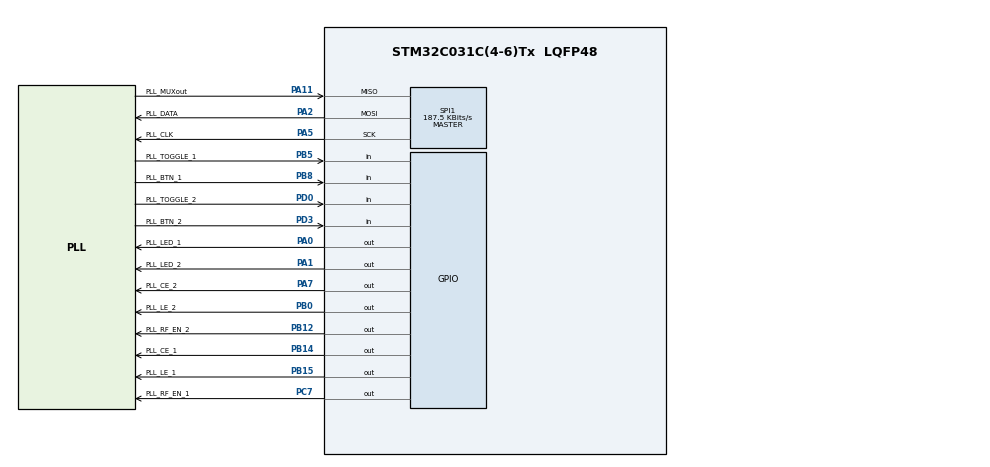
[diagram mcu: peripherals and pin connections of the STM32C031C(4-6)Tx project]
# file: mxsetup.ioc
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Mcu.Family=STM32C0
Mcu.Name=STM32C031C(4-6)Tx
Mcu.Package=LQFP48
PA0.GPIO_Label=PLL_LED_1
PA0.Signal=GPIO_Output
PA1.GPIO_Label=PLL_LED_2
PA1.Signal=GPIO_Output
PA11\ [PA9].GPIO_Label=PLL_MUXout
PA11\ [PA9].GPIO_Speed=GPIO_SPEED_FREQ_VERY_HIGH
PA11\ [PA9].Mode=Full_Duplex_Master
PA11\ [PA9].Signal=SPI1_MISO
PA13.Mode=Serial_Wire
PA13.Signal=DEBUG_SWDIO
PA14-BOOT0.Mode=Serial_Wire
PA14-BOOT0.Signal=DEBUG_SWCLK
PA2.GPIO_Label=PLL_DATA
PA2.GPIO_Speed=GPIO_SPEED_FREQ_VERY_HIGH
PA2.Mode=Full_Duplex_Master
PA2.Signal=SPI1_MOSI
PA5.GPIO_Label=PLL_CLK
PA5.GPIO_Speed=GPIO_SPEED_FREQ_VERY_HIGH
PA5.Mode=Full_Duplex_Master
PA5.Signal=SPI1_SCK
PA7.GPIO_Label=PLL_CE_2
PA7.Signal=GPIO_Output
PB0.GPIO_Label=PLL_LE_2
PB0.GPIO_ModeDefaultOutputPP=GPIO_MODE_OUTPUT_PP
PB0.GPIO_PuPd=GPIO_NOPULL
PB0.PinState=GPIO_PIN_RESET
PB0.Signal=GPIO_Output
PB12.GPIO_Label=PLL_RF_EN_2
PB12.Signal=GPIO_Output
PB14.GPIO_Label=PLL_CE_1
PB14.Signal=GPIO_Output
PB15.GPIO_Label=PLL_LE_1
PB15.GPIO_ModeDefaultOutputPP=GPIO_MODE_OUTPUT_PP
PB15.GPIO_PuPd=GPIO_NOPULL
PB15.PinState=GPIO_PIN_RESET
PB15.Signal=GPIO_Output
PB5.GPIO_Label=PLL_TOGGLE_1
PB5.Signal=GPIO_Input
PB8.GPIO_Label=PLL_BTN_1
PB8.GPIO_PuPd=GPIO_NOPULL
PB8.Signal=GPIO_Input
PC7.GPIO_Label=PLL_RF_EN_1
PC7.Signal=GPIO_Output
PD0.GPIO_Label=PLL_TOGGLE_2
PD0.GPIO_PuPd=GPIO_NOPULL
PD0.Signal=GPIO_Input
PD3.GPIO_Label=PLL_BTN_2
PD3.GPIO_PuPd=GPIO_NOPULL
PD3.Signal=GPIO_Input
ProjectManager.HeapSize=0x200
ProjectManager.StackSize=0x400
ProjectManager.TargetToolchain=STM32CubeIDE
RCC.ADCFreq_Value=48000000
RCC.AHBFreq_Value=48000000
RCC.CortexFreq_Value=48000000
RCC.EXTERNAL_CLOCK_VALUE=12288000
RCC.HCLKFreq_Value=48000000
RCC.HSE_VALUE=8000000
RCC.HSISYSCLKDivider=RCC_HSI_DIV1
RCC.HSI_VALUE=48000000
RCC.LSE_VALUE=32768
RCC.RCC_MCO2Div=RCC_MCO2DIV_16
RCC.RCC_MCODiv=RCC_MCODIV_16
RCC.SYSCLKFreq_VALUE=48000000
SPI1.BaudRatePrescaler=SPI_BAUDRATEPRESCALER_256
SPI1.CLKPhase=SPI_PHASE_1EDGE
SPI1.CalculateBaudRate=187.5 KBits/s
SPI1.DataSize=SPI_DATASIZE_8BIT
SPI1.Direction=SPI_DIRECTION_2LINES
SPI1.Mode=SPI_MODE_MASTER
SPI1.VirtualType=VM_MASTER
board=custom

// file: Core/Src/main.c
/* USER CODE BEGIN Header */
/**
  ******************************************************************************
  * @file           : main.c
  * @brief          : Main program body
  ******************************************************************************
  * @attention
  *
  * Copyright (c) 2026 STMicroelectronics.
  * All rights reserved.
  *
  * This software is licensed under terms that can be found in the LICENSE file
  * in the root directory of this software component.
  * If no LICENSE file comes with this software, it is provided AS-IS.
  *
  ******************************************************************************
  */
/* USER CODE END Header */
#include "main.h"

/* USER CODE BEGIN Includes */
#include "LMX2581.h"
/* USER CODE END Includes */

void SystemClock_Config(void);
static void MX_GPIO_Init(void);
static void MX_SPI1_Init(void);

int main(void)
{

  /* MCU Configuration--------------------------------------------------------*/

  /* Reset of all peripherals, Initializes the Flash interface and the Systick. */
  LL_APB2_GRP1_EnableClock(LL_APB2_GRP1_PERIPH_SYSCFG);
  LL_APB1_GRP1_EnableClock(LL_APB1_GRP1_PERIPH_PWR);

  /* SysTick_IRQn interrupt configuration */
  NVIC_SetPriority(SysTick_IRQn, 3);

  /* Configure the system clock */
  SystemClock_Config();

  /* Initialize all configured peripherals */
  MX_GPIO_Init();
  MX_SPI1_Init();
  /* USER CODE BEGIN 2 */
  //SystemCoreClockUpdate();
  //LL_Init1msTick(SystemCoreClock);

  // LED TEST
  //while ((PLL_BTN_1_GPIO_Port->IDR & PLL_BTN_1_Pin)) {}

  //while ((PLL_BTN_2_GPIO_Port->IDR & PLL_BTN_2_Pin)) {}

  //while ((PLL_TOGGLE_1_GPIO_Port->IDR & PLL_TOGGLE_1_Pin)) {}
  //while ((PLL_TOGGLE_2_GPIO_Port->IDR & PLL_TOGGLE_2_Pin)) {}

  //LL_GPIO_SetOutputPin(PLL_LED_1_GPIO_Port, PLL_LED_1_Pin);
  //LL_GPIO_SetOutputPin(PLL_LED_2_GPIO_Port, PLL_LED_2_Pin);

  PLL_t PLL_high = PLL_init(PLL_CE_1_GPIO_Port, PLL_CE_1_Pin, PLL_LE_1_GPIO_Port, PLL_LE_1_Pin, 2400, 0, 0, 0, 0);
  PLL_write_reg(&PLL_high, SPI1);
  PLL_t PLL_low = PLL_init(PLL_CE_2_GPIO_Port, PLL_CE_2_Pin, PLL_LE_2_GPIO_Port, PLL_LE_2_Pin, 2520, 0, 0, 1, 0);
  PLL_write_reg(&PLL_low, SPI1);

  uint8_t RF_1_out = 0;
  uint8_t RF_1_out_prev = 0;
  uint8_t BTN_1_curr = 0;
  uint8_t BTN_1_prev = 0;
  uint8_t TOGGLE_1_curr = 0;
  uint8_t TOGGLE_1_prev = 0;
  uint8_t TOGGLE_1_en = 0;

  uint8_t RF_2_out = 0;
  uint8_t RF_2_out_prev = 0;
  uint8_t BTN_2_curr = 0;
  uint8_t BTN_2_prev = 0;
  uint8_t TOGGLE_2_curr = 0;
  uint8_t TOGGLE_2_prev = 0;
  uint8_t TOGGLE_2_en = 0;
  /* USER CODE END 2 */

  /* Infinite loop */
  /* USER CODE BEGIN WHILE */
  while (1)
  {
  	BTN_1_curr = !(PLL_BTN_1_GPIO_Port->IDR & PLL_BTN_1_Pin);
  	TOGGLE_1_curr = !(PLL_TOGGLE_1_GPIO_Port->IDR & PLL_TOGGLE_1_Pin);
  	BTN_2_curr = !(PLL_BTN_2_GPIO_Port->IDR & PLL_BTN_2_Pin);
  	TOGGLE_2_curr = !(PLL_TOGGLE_2_GPIO_Port->IDR & PLL_TOGGLE_2_Pin);

  	compare_toggle(TOGGLE_1_curr, TOGGLE_1_prev, &RF_1_out, &TOGGLE_1_en);
  	compare_toggle(TOGGLE_2_curr, TOGGLE_2_prev, &RF_2_out, &TOGGLE_2_en);

    compare_btn(BTN_1_curr, BTN_1_prev, &RF_1_out, &TOGGLE_1_en);
    compare_btn(BTN_2_curr, BTN_2_prev, &RF_2_out, &TOGGLE_2_en);

    output_logic(PLL_RF_EN_1_GPIO_Port, PLL_RF_EN_1_Pin, PLL_LED_1_GPIO_Port, PLL_LED_1_Pin, RF_1_out, &RF_1_out_prev);
    output_logic(PLL_RF_EN_2_GPIO_Port, PLL_RF_EN_2_Pin, PLL_LED_2_GPIO_Port, PLL_LED_2_Pin, RF_2_out, &RF_2_out_prev);

    BTN_1_prev = BTN_1_curr;
  	BTN_2_prev = BTN_2_curr;

  	TOGGLE_1_prev = TOGGLE_1_curr;
  	TOGGLE_2_prev = TOGGLE_2_curr;

    /* USER CODE END WHILE */

  }
}

void SystemClock_Config(void)
{

  LL_FLASH_SetLatency(LL_FLASH_LATENCY_1);

  /* HSI configuration and activation */
  LL_RCC_HSI_Enable();
  while(LL_RCC_HSI_IsReady() != 1)
  {
  }

  LL_RCC_HSI_SetCalibTrimming(64);
  LL_RCC_SetHSIDiv(LL_RCC_HSI_DIV_1);
  /* Set AHB prescaler*/
  LL_RCC_SetAHBPrescaler(LL_RCC_HCLK_DIV_1);

  /* Sysclk activation on the HSI */
  LL_RCC_SetSysClkSource(LL_RCC_SYS_CLKSOURCE_HSI);
  while(LL_RCC_GetSysClkSource() != LL_RCC_SYS_CLKSOURCE_STATUS_HSI)
  {
  }

  /* Set APB1 prescaler*/
  LL_RCC_SetAPB1Prescaler(LL_RCC_APB1_DIV_1);
  LL_Init1msTick(48000000);
  /* Update CMSIS variable (which can be updated also through SystemCoreClockUpdate function) */
  LL_SetSystemCoreClock(48000000);
}

static void MX_SPI1_Init(void)
{

  LL_SPI_InitTypeDef SPI_InitStruct = {0};

  LL_GPIO_InitTypeDef GPIO_InitStruct = {0};

  LL_RCC_SetI2SClockSource(LL_RCC_I2S1_CLKSOURCE_SYSCLK);

  /* Peripheral clock enable */
  LL_APB2_GRP1_EnableClock(LL_APB2_GRP1_PERIPH_SPI1);

  LL_IOP_GRP1_EnableClock(LL_IOP_GRP1_PERIPH_GPIOA);
  /**SPI1 GPIO Configuration
  PA2   ------> SPI1_MOSI
  PA5   ------> SPI1_SCK
  PA11 [PA9]   ------> SPI1_MISO
  */
  GPIO_InitStruct.Pin = PLL_DATA_Pin;
  GPIO_InitStruct.Mode = LL_GPIO_MODE_ALTERNATE;
  GPIO_InitStruct.Speed = LL_GPIO_SPEED_FREQ_VERY_HIGH;
  GPIO_InitStruct.OutputType = LL_GPIO_OUTPUT_PUSHPULL;
  GPIO_InitStruct.Pull = LL_GPIO_PULL_NO;
  GPIO_InitStruct.Alternate = LL_GPIO_AF_0;
  LL_GPIO_Init(PLL_DATA_GPIO_Port, &GPIO_InitStruct);

  GPIO_InitStruct.Pin = PLL_CLK_Pin;
  GPIO_InitStruct.Mode = LL_GPIO_MODE_ALTERNATE;
  GPIO_InitStruct.Speed = LL_GPIO_SPEED_FREQ_VERY_HIGH;
  GPIO_InitStruct.OutputType = LL_GPIO_OUTPUT_PUSHPULL;
  GPIO_InitStruct.Pull = LL_GPIO_PULL_NO;
  GPIO_InitStruct.Alternate = LL_GPIO_AF_0;
  LL_GPIO_Init(PLL_CLK_GPIO_Port, &GPIO_InitStruct);

  GPIO_InitStruct.Pin = PLL_MUXout_Pin;
  GPIO_InitStruct.Mode = LL_GPIO_MODE_ALTERNATE;
  GPIO_InitStruct.Speed = LL_GPIO_SPEED_FREQ_VERY_HIGH;
  GPIO_InitStruct.OutputType = LL_GPIO_OUTPUT_PUSHPULL;
  GPIO_InitStruct.Pull = LL_GPIO_PULL_NO;
  GPIO_InitStruct.Alternate = LL_GPIO_AF_0;
  LL_GPIO_Init(PLL_MUXout_GPIO_Port, &GPIO_InitStruct);

  /* SPI1 parameter configuration*/
  SPI_InitStruct.TransferDirection = LL_SPI_FULL_DUPLEX;
  SPI_InitStruct.Mode = LL_SPI_MODE_MASTER;
  SPI_InitStruct.DataWidth = LL_SPI_DATAWIDTH_8BIT;
  SPI_InitStruct.ClockPolarity = LL_SPI_POLARITY_LOW;
  SPI_InitStruct.ClockPhase = LL_SPI_PHASE_1EDGE;
  SPI_InitStruct.NSS = LL_SPI_NSS_SOFT;
  SPI_InitStruct.BaudRate = LL_SPI_BAUDRATEPRESCALER_DIV256;
  SPI_InitStruct.BitOrder = LL_SPI_MSB_FIRST;
  SPI_InitStruct.CRCCalculation = LL_SPI_CRCCALCULATION_DISABLE;
  SPI_InitStruct.CRCPoly = 7;
  LL_SPI_Init(SPI1, &SPI_InitStruct);
  LL_SPI_SetStandard(SPI1, LL_SPI_PROTOCOL_MOTOROLA);
  LL_SPI_EnableNSSPulseMgt(SPI1);

}

static void MX_GPIO_Init(void)
{
  LL_GPIO_InitTypeDef GPIO_InitStruct = {0};

  /* GPIO Ports Clock Enable */
  LL_IOP_GRP1_EnableClock(LL_IOP_GRP1_PERIPH_GPIOA);
  LL_IOP_GRP1_EnableClock(LL_IOP_GRP1_PERIPH_GPIOB);
  LL_IOP_GRP1_EnableClock(LL_IOP_GRP1_PERIPH_GPIOC);
  LL_IOP_GRP1_EnableClock(LL_IOP_GRP1_PERIPH_GPIOD);

  /**/
  LL_GPIO_ResetOutputPin(PLL_LED_1_GPIO_Port, PLL_LED_1_Pin);

  /**/
  LL_GPIO_ResetOutputPin(PLL_LED_2_GPIO_Port, PLL_LED_2_Pin);

  /**/
  LL_GPIO_ResetOutputPin(PLL_CE_2_GPIO_Port, PLL_CE_2_Pin);

  /**/
  LL_GPIO_ResetOutputPin(PLL_LE_2_GPIO_Port, PLL_LE_2_Pin);

  /**/
  LL_GPIO_ResetOutputPin(PLL_RF_EN_2_GPIO_Port, PLL_RF_EN_2_Pin);

  /**/
  LL_GPIO_ResetOutputPin(PLL_CE_1_GPIO_Port, PLL_CE_1_Pin);

  /**/
  LL_GPIO_ResetOutputPin(PLL_LE_1_GPIO_Port, PLL_LE_1_Pin);

  /**/
  LL_GPIO_ResetOutputPin(PLL_RF_EN_1_GPIO_Port, PLL_RF_EN_1_Pin);

  /**/
  GPIO_InitStruct.Pin = PLL_LED_1_Pin;
  GPIO_InitStruct.Mode = LL_GPIO_MODE_OUTPUT;
  GPIO_InitStruct.Speed = LL_GPIO_SPEED_FREQ_LOW;
  GPIO_InitStruct.OutputType = LL_GPIO_OUTPUT_PUSHPULL;
  GPIO_InitStruct.Pull = LL_GPIO_PULL_NO;
  LL_GPIO_Init(PLL_LED_1_GPIO_Port, &GPIO_InitStruct);

  /**/
  GPIO_InitStruct.Pin = PLL_LED_2_Pin;
  GPIO_InitStruct.Mode = LL_GPIO_MODE_OUTPUT;
  GPIO_InitStruct.Speed = LL_GPIO_SPEED_FREQ_LOW;
  GPIO_InitStruct.OutputType = LL_GPIO_OUTPUT_PUSHPULL;
  GPIO_InitStruct.Pull = LL_GPIO_PULL_NO;
  LL_GPIO_Init(PLL_LED_2_GPIO_Port, &GPIO_InitStruct);

  /**/
  GPIO_InitStruct.Pin = PLL_CE_2_Pin;
  GPIO_InitStruct.Mode = LL_GPIO_MODE_OUTPUT;
  GPIO_InitStruct.Speed = LL_GPIO_SPEED_FREQ_LOW;
  GPIO_InitStruct.OutputType = LL_GPIO_OUTPUT_PUSHPULL;
  GPIO_InitStruct.Pull = LL_GPIO_PULL_NO;
  LL_GPIO_Init(PLL_CE_2_GPIO_Port, &GPIO_InitStruct);

  /**/
  GPIO_InitStruct.Pin = PLL_LE_2_Pin;
  GPIO_InitStruct.Mode = LL_GPIO_MODE_OUTPUT;
  GPIO_InitStruct.Speed = LL_GPIO_SPEED_FREQ_LOW;
  GPIO_InitStruct.OutputType = LL_GPIO_OUTPUT_PUSHPULL;
  GPIO_InitStruct.Pull = LL_GPIO_PULL_NO;
  LL_GPIO_Init(PLL_LE_2_GPIO_Port, &GPIO_InitStruct);

  /**/
  GPIO_InitStruct.Pin = PLL_RF_EN_2_Pin;
  GPIO_InitStruct.Mode = LL_GPIO_MODE_OUTPUT;
  GPIO_InitStruct.Speed = LL_GPIO_SPEED_FREQ_LOW;
  GPIO_InitStruct.OutputType = LL_GPIO_OUTPUT_PUSHPULL;
  GPIO_InitStruct.Pull = LL_GPIO_PULL_NO;
  LL_GPIO_Init(PLL_RF_EN_2_GPIO_Port, &GPIO_InitStruct);

  /**/
  GPIO_InitStruct.Pin = PLL_CE_1_Pin;
  GPIO_InitStruct.Mode = LL_GPIO_MODE_OUTPUT;
  GPIO_InitStruct.Speed = LL_GPIO_SPEED_FREQ_LOW;
  GPIO_InitStruct.OutputType = LL_GPIO_OUTPUT_PUSHPULL;
  GPIO_InitStruct.Pull = LL_GPIO_PULL_NO;
  LL_GPIO_Init(PLL_CE_1_GPIO_Port, &GPIO_InitStruct);

  /**/
  GPIO_InitStruct.Pin = PLL_LE_1_Pin;
  GPIO_InitStruct.Mode = LL_GPIO_MODE_OUTPUT;
  GPIO_InitStruct.Speed = LL_GPIO_SPEED_FREQ_LOW;
  GPIO_InitStruct.OutputType = LL_GPIO_OUTPUT_PUSHPULL;
  GPIO_InitStruct.Pull = LL_GPIO_PULL_NO;
  LL_GPIO_Init(PLL_LE_1_GPIO_Port, &GPIO_InitStruct);

  /**/
  GPIO_InitStruct.Pin = PLL_RF_EN_1_Pin;
  GPIO_InitStruct.Mode = LL_GPIO_MODE_OUTPUT;
  GPIO_InitStruct.Speed = LL_GPIO_SPEED_FREQ_LOW;
  GPIO_InitStruct.OutputType = LL_GPIO_OUTPUT_PUSHPULL;
  GPIO_InitStruct.Pull = LL_GPIO_PULL_NO;
  LL_GPIO_Init(PLL_RF_EN_1_GPIO_Port, &GPIO_InitStruct);

  /**/
  GPIO_InitStruct.Pin = PLL_TOGGLE_2_Pin;
  GPIO_InitStruct.Mode = LL_GPIO_MODE_INPUT;
  GPIO_InitStruct.Pull = LL_GPIO_PULL_NO;
  LL_GPIO_Init(PLL_TOGGLE_2_GPIO_Port, &GPIO_InitStruct);

  /**/
  GPIO_InitStruct.Pin = PLL_BTN_2_Pin;
  GPIO_InitStruct.Mode = LL_GPIO_MODE_INPUT;
  GPIO_InitStruct.Pull = LL_GPIO_PULL_NO;
  LL_GPIO_Init(PLL_BTN_2_GPIO_Port, &GPIO_InitStruct);

  /**/
  GPIO_InitStruct.Pin = PLL_TOGGLE_1_Pin;
  GPIO_InitStruct.Mode = LL_GPIO_MODE_INPUT;
  GPIO_InitStruct.Pull = LL_GPIO_PULL_NO;
  LL_GPIO_Init(PLL_TOGGLE_1_GPIO_Port, &GPIO_InitStruct);

  /**/
  GPIO_InitStruct.Pin = PLL_BTN_1_Pin;
  GPIO_InitStruct.Mode = LL_GPIO_MODE_INPUT;
  GPIO_InitStruct.Pull = LL_GPIO_PULL_NO;
  LL_GPIO_Init(PLL_BTN_1_GPIO_Port, &GPIO_InitStruct);

}

/* USER CODE BEGIN 4 */
void compare_toggle(uint8_t current, uint8_t previous, uint8_t* RF_out, uint8_t* TOGGLE_en) {
  if (current > previous) {
    (*RF_out) = !(*RF_out);
  	(*TOGGLE_en) = !(*TOGGLE_en);
  }
}

void compare_btn(uint8_t current, uint8_t previous, uint8_t* RF_out, uint8_t* TOGGLE_en) {
  if (!(*TOGGLE_en)) {
    if (current > previous) {
  	  (*RF_out) = 1;
  	} else if(current < previous){
  	 (*RF_out) = 0;
  	}
  }
}
void output_logic(GPIO_TypeDef* RF_en_port, uint32_t RF_en_pin, GPIO_TypeDef* LED_port, uint32_t LED_pin, uint8_t current, uint8_t* previous) {
	if (current > (*previous)) {
	  		RF_en_port->BSRR = RF_en_pin;
	  		LED_port->BSRR = LED_pin;
	  		(*previous) = current;
	} else if (current < (*previous)){
		RF_en_port->BRR = RF_en_pin;
		LED_port->BRR = LED_pin;
		(*previous) = current;
	}
}

/* USER CODE END 4 */

void Error_Handler(void)
{
  __disable_irq();
  while (1)
  {
  }
}
